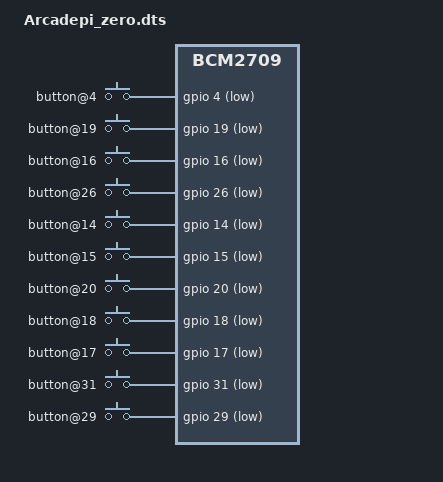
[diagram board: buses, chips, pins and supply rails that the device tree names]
/dts-v1/;
/plugin/;
/ {
    compatible = "brcm,bcm2835", "brcm,bcm2708", "brcm,bcm2709";
    #address-cells = <1>;
    #size-cells = <0>;

    fragment@0 {
        reg = <0>;
        target = <&gpio>;
        __overlay__ {
            pins {
                brcm,pins = <4 14 15 16 17 18 19 20 26 31 29>;
                brcm,function = <0>; // GPIO function
                brcm,pull = <2>; // Pull-up/pull-down resistors
            };
        };
    };

    fragment@1 {
        reg = <1>;
        target-path = "/soc";
        __overlay__ {
            buttons {
                compatible = "gpio-keys";
                #address-cells = <1>;
                #size-cells = <0>;

                button@4 { // Player 1 Left
                    reg = <4>;
                    gpios = <&gpio 4 1>;
                    linux,code = <105>; // KEY_LEFT
                };
                button@19 { // Player 1 Right
                    reg = <19>;
                    gpios = <&gpio 19 1>;
                    linux,code = <106>; // KEY_RIGHT
                };
                button@16 { // Player 1 Up
                    reg = <16>;
                    gpios = <&gpio 16 1>;
                    linux,code = <103>; // KEY_UP
                };
                button@26 { // Player 1 Down
                    reg = <26>;
                    gpios = <&gpio 26 1>;
                    linux,code = <108>; // KEY_DOWN
                };
                button@14 { // Player 1 A
                    reg = <14>;
                    gpios = <&gpio 14 1>;
                    linux,code = <45>; // KEY_A
                };
                button@15 { // Player 1 B
                    reg = <15>;
                    gpios = <&gpio 15 1>;
                    linux,code = <44>; // KEY_B
                };
                button@20 { // Player 1 X
                    reg = <20>;
                    gpios = <&gpio 20 1>;
                    linux,code = <31>; // KEY_X
                };
                button@18 { // Player 1 Y
                    reg = <18>;
                    gpios = <&gpio 18 1>;
                    linux,code = <30>; // KEY_Y
                };
                button@17 { // Player 1 HOTKEY
                    reg = <17>;
                    gpios = <&gpio 17 1>;
                    linux,code = <58>; // KEY_HOTKEY
                };
                button@31 { // Player 1 START
                    reg = <31>;
                    gpios = <&gpio 31 1>;
                    linux,code = <28>; // KEY_START
                };
                button@29 { // Player 1 SELECT
                    reg = <29>;
                    gpios = <&gpio 29 1>;
                    linux,code = <54>; // KEY_SELECT
                };
            };
        };
    };
};
